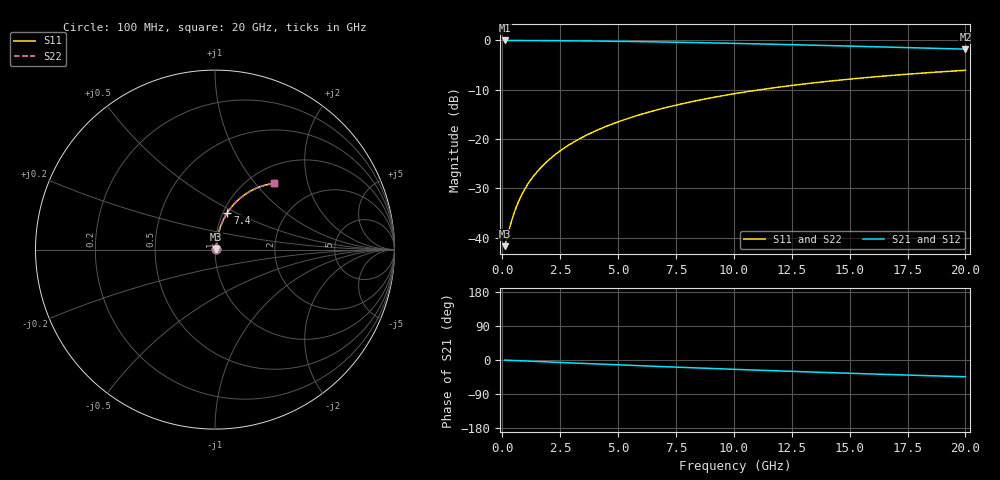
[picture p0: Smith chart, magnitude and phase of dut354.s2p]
! Touchstone file exported from HFSS 2024.1.0
!  File:  C:/UserFiles/LocalFiles/RDL_TSV_Batchsim/temp_RDL_bottom_354_1779612517.aedt
!  Generated:  04:51:17 PM May 24, 2026
!  Design:  RDL_bottom
!  Project:  temp_RDL_bottom_354_1779612517
!  Setup:  Setup1
!  Solution:  Sweep
! Variables:
!  dtsv = 10.80580581um
!  hbump = 3um
!  htsv = 62.06um
!  ldown = 581.65um
!  lrdl = 100um
!  p = 40
!  p1 = 41.76um
!  rhole = 1um
!  t = 450um
!  tdown = 2.48um
!  trdl = 3.915915916um
!  wdown = 11um
!  wrdl = 20um
# GHz S MA R 50.000000
! Terminal data exported
! Port[1] = RDL1_T1
! Port[2] = RDL1_T2
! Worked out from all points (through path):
!   200 points, 100 MHz to 20 GHz, reference 50 ohm
!   highest |S21| = -0.07 dB at 100 MHz (marker M1); lowest = -1.8 dB at 20 GHz (marker M2)
!   group delay of S21, straight-line fit = 6.16 ps
!   lowest |S11| = -41.7 dB at 100 MHz (marker M3), VSWR 1.02, Z = 50.8 + j0.317 ohm
!   |S11| at or under -10 dB: start of sweep to 11.19 GHz
!   |S22| runs from -41.7 to -6.1 dB; largest |S21 - S12| = 3.3e-15
!   S11 on the Smith chart (normalised r, x): 100 MHz: 1.02, +0.01; 7.4 GHz: 1.05, +0.45; 20 GHz: 1.29, +1.26
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0.1  0.008194 22.4  0.9924 -0.3  0.9924 -0.3  0.008194 22.4
! Gamma 0 0 0 0
! Port Impedance 50 0 50 0
0.4  0.01473 57.3  0.9921 -1.1  0.9921 -1.1  0.01473 57.3
0.6  0.02028 65.6  0.9917 -1.6  0.9917 -1.6  0.02028 65.6
0.7  0.02314 68.1  0.9915 -1.9  0.9915 -1.9  0.02314 68.1
0.9  0.02891 71.4  0.9911 -2.4  0.9911 -2.4  0.02891 71.4
1.2  0.03763 74.4  0.9904 -3.2  0.9904 -3.2  0.03763 74.4
1.4  0.04346 75.6  0.9899 -3.7  0.9899 -3.7  0.04346 75.6
1.7  0.05222 76.7  0.9891 -4.4  0.9891 -4.4  0.05222 76.7
2.2  0.06688 77.6  0.9875 -5.7  0.9875 -5.7  0.06688 77.6
2.8  0.08449 77.9  0.9852 -7.3  0.9852 -7.3  0.08449 77.9
3.5  0.105 77.5  0.9819 -9.0  0.9819 -9.0  0.105 77.5
4.2  0.1255 76.8  0.9781 -10.8  0.9781 -10.8  0.1255 76.8
5  0.1487 75.7  0.973 -12.8  0.973 -12.8  0.1487 75.6
5.9  0.1746 74.2  0.9664 -15.0  0.9664 -15.0  0.1745 74.2
6.8  0.2 72.6  0.959 -17.2  0.959 -17.2  0.2 72.6
7.4  0.2167 71.5  0.9537 -18.6  0.9537 -18.6  0.2167 71.5
8.7  0.2521 69.0  0.9413 -21.6  0.9413 -21.6  0.252 69.0
10.1  0.2887 66.3  0.9267 -24.8  0.9267 -24.8  0.2887 66.3
11.7  0.3285 63.2  0.9089 -28.3  0.9089 -28.3  0.3284 63.1
13.4  0.3682 59.9  0.8892 -31.8  0.8892 -31.8  0.368 59.9
16.7  0.4369 53.8  0.8498 -38.3  0.8498 -38.3  0.4367 53.8
20  0.4952 48.2  0.8108 -44.2  0.8108 -44.2  0.4949 48.1
